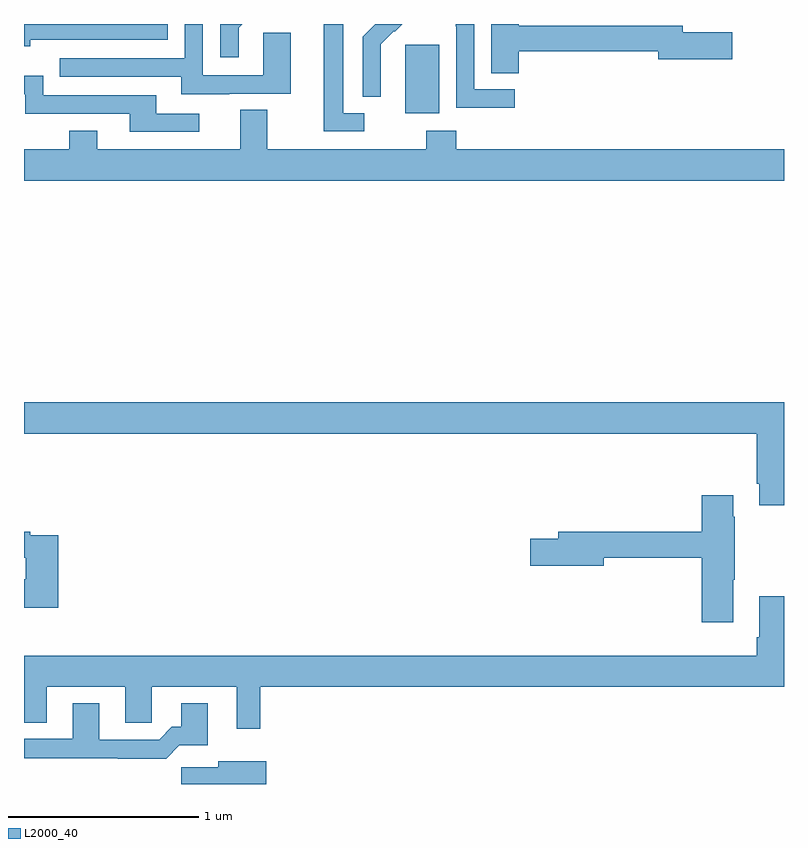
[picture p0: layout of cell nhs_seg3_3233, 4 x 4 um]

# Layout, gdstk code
import gdstk
lib = gdstk.Library(unit=1e-6, precision=1e-09)
def R(c, l, rs):  # rectangles x0, y0, x1, y1
    for r in rs: c.add(gdstk.rectangle(r[:2], r[2:], *l))
def P(c, l, *ps):  # polygons
    for p in ps: c.add(gdstk.Polygon(p, *l))
L2000_40 = (2000, 40)

nhs_seg3_3233 = lib.new_cell('nhs_seg3_3233')
R(nhs_seg3_3233, L2000_40, [(281.006,707.93,281.185,708.291)])
P(nhs_seg3_3233, L2000_40, [(280.081,708.033),(280.405,708.033),(280.405,708.353),(280.26,708.353),(280.26,708.129),(279.942,708.129),(279.942,708.4),(279.846,708.4),(279.846,708.219),(279.187,708.219),(279.187,708.123),(279.827,708.123),(279.827,708.029),(280.081,708.029)],
  [(280.129,708.381),(280.148,708.4),(280.032,708.4),(280.032,708.225),(280.129,708.225)],
  [(280.792,707.931),(280.681,707.931),(280.681,708.4),(280.577,708.4),(280.577,707.835),(280.792,707.835)],
  [(281.603,708.256),(282.338,708.256),(282.338,708.214),(282.727,708.214),(282.727,708.356),(282.466,708.356),(282.466,708.392),(281.603,708.392),(281.603,708.4),(281.459,708.4),(281.459,708.142),(281.603,708.142)],
  [(279.032,708.318),(279.756,708.318),(279.756,708.4),(279,708.4),(279,708.284),(279.032,708.284)],
  [(280.878,708.17),(280.877,708.17),(280.877,708.293),(280.947,708.363),(280.95,708.36),(280.99,708.4),(280.848,708.4),(280.782,708.334),(280.782,708.016),(280.878,708.016)],
  [(281.584,708.057),(281.37,708.057),(281.37,708.4),(281.272,708.4),(281.272,708.388),(281.274,708.388),(281.274,707.959),(281.584,707.959)],
  [(279.922,707.928),(279.697,707.928),(279.697,708.024),(279.102,708.024),(279.102,708.127),(279,708.127),(279,708.03),(279.006,708.03),(279.006,707.928),(279.557,707.928),(279.557,707.832),(279.922,707.832)],
  [(283,707.74),(281.276,707.74),(281.276,707.839),(281.116,707.839),(281.116,707.74),(280.279,707.74),(280.279,707.948),(280.139,707.948),(280.139,707.74),(279.385,707.74),(279.385,707.839),(279.238,707.839),(279.238,707.74),(279,707.74),(279,707.576),(283,707.576)],
  [(283,706.408),(279,706.408),(279,706.244),(282.857,706.244),(282.857,705.979),(282.869,705.979),(282.869,705.867),(283,705.867)],
  [(282.733,705.475),(282.741,705.475),(282.741,705.806),(282.733,705.806),(282.733,705.919),(282.566,705.919),(282.566,705.728),(281.813,705.728),(281.813,705.692),(281.664,705.692),(281.664,705.55),(282.052,705.55),(282.052,705.592),(282.566,705.592),(282.566,705.252),(282.733,705.252)],
  [(279.179,705.708),(279.032,705.708),(279.032,705.728),(279,705.728),(279,705.592),(279.008,705.592),(279.008,705.477),(279,705.477),(279,705.327),(279.179,705.327)],
  [(280.243,704.912),(283,704.912),(283,705.388),(282.869,705.388),(282.869,705.172),(282.857,705.172),(282.857,705.076),(279,705.076),(279,704.722),(279.121,704.722),(279.121,704.912),(279.533,704.912),(279.533,704.722),(279.672,704.722),(279.672,704.912),(280.121,704.912),(280.121,704.691),(280.243,704.691)],
  [(279.818,704.603),(279.967,704.603),(279.967,704.824),(279.827,704.824),(279.827,704.701),(279.778,704.701),(279.711,704.634),(279.397,704.634),(279.397,704.824),(279.257,704.824),(279.257,704.637),(279,704.637),(279,704.536),(279.493,704.536),(279.493,704.534),(279.749,704.534)],
  [(280.276,704.521),(280.022,704.521),(280.022,704.489),(279.828,704.489),(279.828,704.4),(280.276,704.4)])

lib.write_gds('nhs_seg3_3233.gds')
